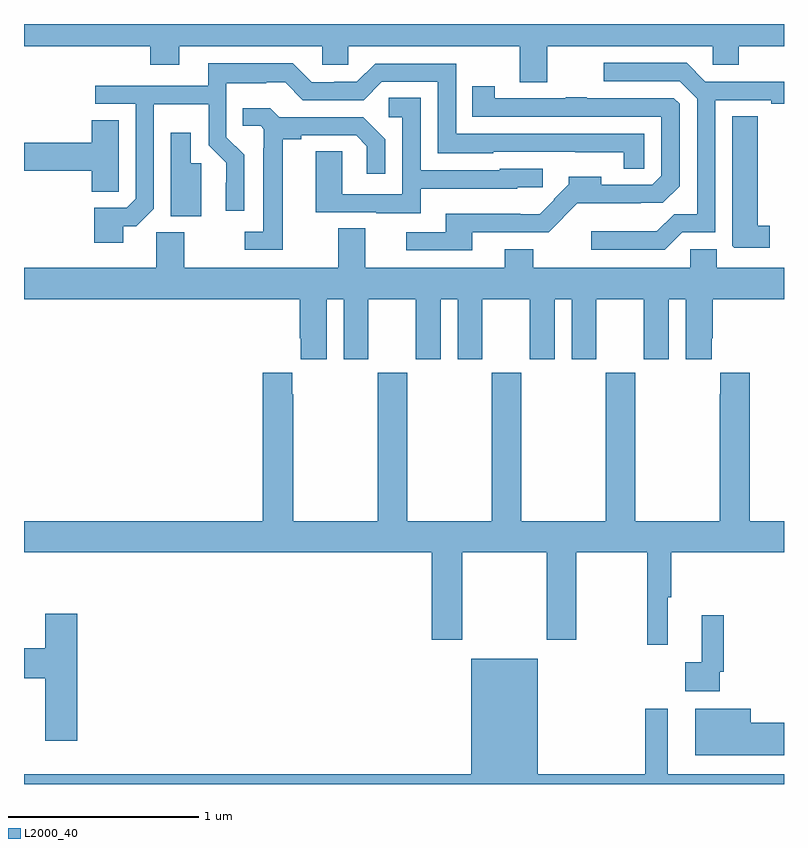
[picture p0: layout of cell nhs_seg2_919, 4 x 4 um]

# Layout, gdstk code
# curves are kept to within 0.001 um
import gdstk
lib = gdstk.Library(unit=1e-6, precision=1e-09)
def P(c, l, *ps):  # polygons
    for p in ps: c.add(gdstk.Polygon(p, *l))
L2000_40 = (2000, 40)

nhs_seg2_919 = lib.new_cell('nhs_seg2_919')
P(nhs_seg2_919, L2000_40, [(161.755,599.684),(162.624,599.684),(162.624,599.586),(162.763,599.586),(162.763,599.684),(163,599.684),(163,599.8),(159,599.8),(159,599.684),(159.665,599.684),(159.665,599.585),(159.817,599.585),(159.817,599.684),(160.569,599.684),(160.569,599.586),(160.707,599.586),(160.707,599.684),(161.608,599.684),(161.608,599.494),(161.755,599.494)],
  [(162.465,598.704),(162.639,598.704),(162.639,599.4),(162.932,599.4),(162.932,599.38),(163,599.38),(163,599.496),(162.586,599.496),(162.487,599.595),(162.051,599.595),(162.051,599.499),(162.45,599.499),(162.543,599.406),(162.543,598.799),(162.422,598.799),(162.331,598.708),(161.985,598.708),(161.985,598.611),(162.372,598.611)],
  [(159.523,598.735),(159.591,598.735),(159.684,598.827),(159.684,599.378),(159.972,599.378),(159.972,599.162),(160.064,599.07),(160.064,598.964),(160.062,598.964),(160.062,598.818),(160.158,598.818),(160.158,599.112),(160.065,599.205),(160.065,599.489),(160.274,599.489),(160.274,599.493),(160.374,599.493),(160.467,599.4),(160.788,599.4),(160.884,599.496),(161.178,599.496),(161.178,599.12),(161.469,599.12),(161.469,599.127),(162.156,599.126),(162.156,599.038),(162.264,599.038),(162.264,599.223),(161.274,599.223),(161.274,599.592),(160.848,599.592),(160.752,599.496),(160.632,599.496),(160.632,599.493),(160.515,599.493),(160.415,599.593),(159.971,599.593),(159.971,599.475),(159.375,599.475),(159.375,599.379),(159.588,599.379),(159.588,598.881),(159.54,598.833),(159.371,598.833),(159.371,598.65),(159.523,598.65)],
  [(161.359,598.704),(161.763,598.704),(161.839,598.781),(161.837,598.783),(161.911,598.857),(162.245,598.856),(162.245,598.858),(162.361,598.858),(162.45,598.947),(162.45,599.379),(162.42,599.409),(161.963,599.409),(161.963,599.414),(161.851,599.414),(161.851,599.409),(161.478,599.409),(161.478,599.473),(161.359,599.473),(161.359,599.313),(162.354,599.313),(162.354,599.001),(162.306,598.953),(162.037,598.953),(162.037,598.996),(161.866,598.996),(161.866,598.957),(161.787,598.878),(161.79,598.875),(161.714,598.799),(161.612,598.799),(161.612,598.801),(161.219,598.801),(161.219,598.704),(161.013,598.704),(161.013,598.608),(161.359,598.608)],
  [(161.089,598.934),(161.595,598.934),(161.595,598.941),(161.73,598.941),(161.73,599.037),(161.505,599.037),(161.505,599.031),(161.088,599.031),(161.088,599.411),(160.92,599.411),(160.92,599.31),(160.992,599.31),(160.992,598.905),(160.674,598.905),(160.674,599.129),(160.535,599.129),(160.535,598.809),(160.853,598.809),(160.853,598.805),(161.089,598.805)],
  [(160.363,599.194),(160.459,599.194),(160.459,599.214),(160.748,599.214),(160.805,599.157),(160.805,599.013),(160.902,599.013),(160.902,599.194),(160.786,599.31),(160.344,599.31),(160.296,599.357),(160.15,599.357),(160.15,599.265),(160.245,599.265),(160.263,599.247),(160.263,599.147),(160.259,599.147),(160.259,598.707),(160.161,598.707),(160.161,598.611),(160.363,598.611)],
  [(162.925,598.739),(162.862,598.739),(162.862,599.315),(162.728,599.315),(162.728,598.633),(162.738,598.623),(162.925,598.623)],
  [(159.498,599.026),(159.499,599.026),(159.499,599.294),(159.356,599.294),(159.356,599.174),(159,599.174),(159,599.027),(159.356,599.027),(159.356,598.918),(159.498,598.918)],
  [(159.934,599.067),(159.877,599.067),(159.877,599.227),(159.773,599.227),(159.773,598.789),(159.934,598.789)],
  [(160.594,598.352),(160.682,598.352),(160.682,598.035),(160.813,598.035),(160.813,598.352),(161.063,598.352),(161.063,598.035),(161.194,598.035),(161.194,598.352),(161.282,598.352),(161.282,598.035),(161.413,598.035),(161.413,598.352),(161.663,598.352),(161.663,598.035),(161.794,598.035),(161.794,598.352),(161.882,598.352),(161.882,598.035),(162.013,598.035),(162.013,598.352),(162.263,598.352),(162.263,598.035),(162.394,598.035),(162.394,598.352),(162.482,598.352),(162.482,598.035),(162.619,598.035),(162.619,598.147),(162.626,598.147),(162.626,598.352),(163,598.352),(163,598.516),(162.646,598.516),(162.646,598.614),(162.507,598.614),(162.507,598.516),(161.679,598.516),(161.679,598.615),(161.531,598.615),(161.531,598.516),(160.795,598.516),(160.795,598.724),(160.655,598.724),(160.655,598.516),(159.843,598.516),(159.843,598.704),(159.696,598.704),(159.696,598.516),(159,598.516),(159,598.352),(160.451,598.352),(160.451,598.147),(160.457,598.147),(160.457,598.035),(160.594,598.035)],
  [(162.389,596.784),(162.407,596.784),(162.407,597.02),(163,597.02),(163,597.184),(162.821,597.184),(162.821,597.964),(162.665,597.964),(162.665,597.851),(162.661,597.851),(162.661,597.184),(162.216,597.184),(162.216,597.964),(162.061,597.964),(162.061,597.184),(161.616,597.184),(161.616,597.964),(161.461,597.964),(161.461,597.184),(161.016,597.184),(161.016,597.964),(160.861,597.964),(160.861,597.184),(160.416,597.184),(160.416,597.851),(160.411,597.851),(160.411,597.964),(160.256,597.964),(160.256,597.184),(159,597.184),(159,597.02),(161.147,597.02),(161.147,596.559),(161.307,596.559),(161.307,597.02),(161.752,597.02),(161.752,596.559),(161.907,596.559),(161.907,597.02),(162.279,597.02),(162.279,596.532),(162.389,596.532)],
  [(159.281,596.695),(159.113,596.695),(159.113,596.515),(159,596.515),(159,596.357),(159.113,596.357),(159.113,596.028),(159.281,596.028)],
  [(162.663,596.392),(162.683,596.392),(162.683,596.689),(162.566,596.689),(162.566,596.441),(162.48,596.441),(162.48,596.288),(162.663,596.288)],
  [(163,595.852),(162.388,595.852),(162.388,596.197),(162.271,596.197),(162.271,595.852),(161.704,595.852),(161.704,596.458),(161.354,596.458),(161.354,595.852),(159,595.852),(159,595.8),(163,595.8)],
  [(163,596.123),(162.826,596.123),(162.826,596.197),(162.533,596.197),(162.533,595.952),(163,595.952)])

lib.write_gds('nhs_seg2_919.gds')
